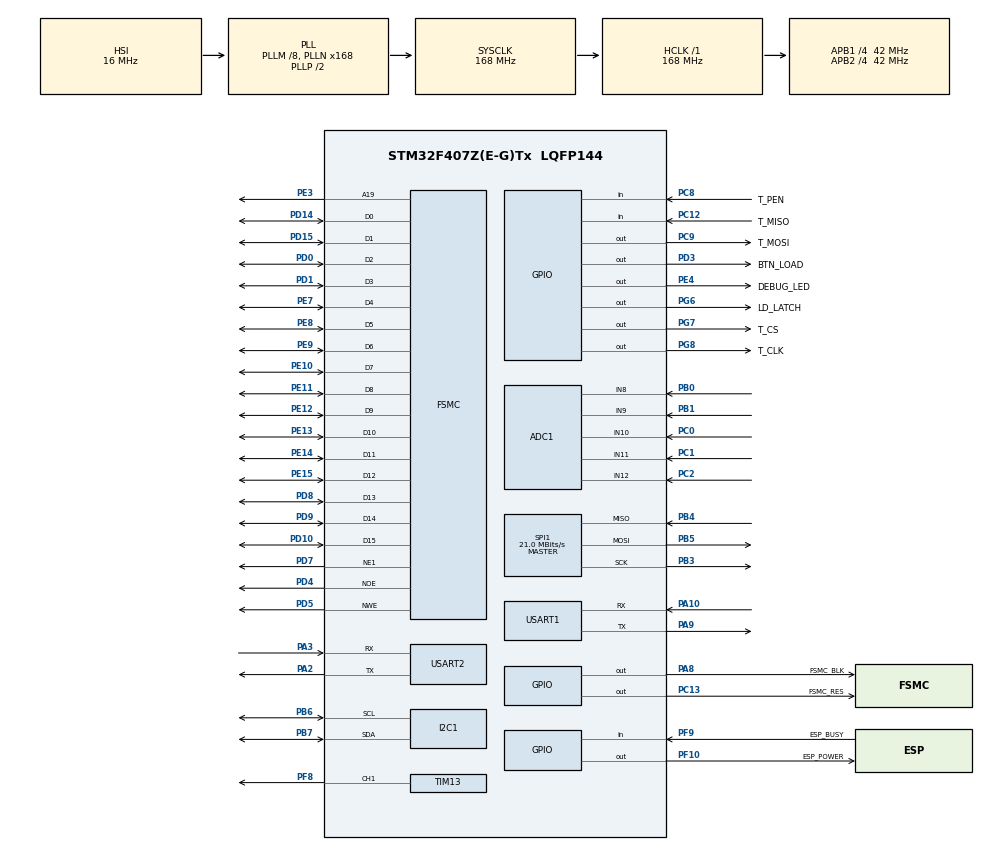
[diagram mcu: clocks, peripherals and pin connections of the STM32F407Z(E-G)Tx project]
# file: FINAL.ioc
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ADC1.Channel-0\#ChannelRegularConversion=ADC_CHANNEL_8
ADC1.Channel-1\#ChannelRegularConversion=ADC_CHANNEL_9
ADC1.Channel-2\#ChannelRegularConversion=ADC_CHANNEL_10
ADC1.Channel-3\#ChannelRegularConversion=ADC_CHANNEL_11
ADC1.Channel-4\#ChannelRegularConversion=ADC_CHANNEL_12
ADC1.NbrOfConversion=5
ADC1.NbrOfConversionFlag=1
ADC1.Rank-0\#ChannelRegularConversion=1
ADC1.Rank-1\#ChannelRegularConversion=2
ADC1.Rank-2\#ChannelRegularConversion=3
ADC1.Rank-3\#ChannelRegularConversion=4
ADC1.Rank-4\#ChannelRegularConversion=5
ADC1.SamplingTime-0\#ChannelRegularConversion=ADC_SAMPLETIME_3CYCLES
ADC1.SamplingTime-1\#ChannelRegularConversion=ADC_SAMPLETIME_3CYCLES
ADC1.SamplingTime-2\#ChannelRegularConversion=ADC_SAMPLETIME_3CYCLES
ADC1.SamplingTime-3\#ChannelRegularConversion=ADC_SAMPLETIME_3CYCLES
ADC1.SamplingTime-4\#ChannelRegularConversion=ADC_SAMPLETIME_3CYCLES
ADC1.ScanConvMode=ENABLE
ADC1.master=1
Dma.ADC1.0.Direction=DMA_PERIPH_TO_MEMORY
Dma.ADC1.0.FIFOMode=DMA_FIFOMODE_DISABLE
Dma.ADC1.0.Instance=DMA2_Stream0
Dma.ADC1.0.MemDataAlignment=DMA_MDATAALIGN_HALFWORD
Dma.ADC1.0.MemInc=DMA_MINC_ENABLE
Dma.ADC1.0.Mode=DMA_CIRCULAR
Dma.ADC1.0.PeriphDataAlignment=DMA_PDATAALIGN_HALFWORD
Dma.ADC1.0.PeriphInc=DMA_PINC_DISABLE
Dma.ADC1.0.Priority=DMA_PRIORITY_LOW
Dma.Request0=ADC1
FSMC.AddressSetupTime1=0xf
FSMC.BusTurnAroundDuration1=0
FSMC.DataSetupTime1=60
FSMC.ExtendedAddressSetupTime1=8
FSMC.ExtendedBusTurnAroundDuration1=0
FSMC.ExtendedDataSetupTime1=9
FSMC.ExtendedMode1=FSMC_EXTENDED_MODE_ENABLE
Mcu.Family=STM32F4
Mcu.Name=STM32F407Z(E-G)Tx
Mcu.Package=LQFP144
NVIC.DMA2_Stream0_IRQn=true\:0\:0\:false\:false\:true\:false\:true
NVIC.PriorityGroup=NVIC_PRIORITYGROUP_4
NVIC.TIM2_IRQn=true\:0\:0\:false\:false\:true\:true\:true
NVIC.USART1_IRQn=true\:0\:0\:false\:false\:true\:true\:true
NVIC.USART2_IRQn=true\:0\:0\:false\:false\:true\:true\:true
PA10.Mode=Asynchronous
PA10.Signal=USART1_RX
PA13.Mode=Serial_Wire
PA13.Signal=SYS_JTMS-SWDIO
PA14.Mode=Serial_Wire
PA14.Signal=SYS_JTCK-SWCLK
PA2.Mode=Asynchronous
PA2.Signal=USART2_TX
PA3.Mode=Asynchronous
PA3.Signal=USART2_RX
PA8.GPIO_Label=FSMC_BLK
PA8.Signal=GPIO_Output
PA9.Mode=Asynchronous
PA9.Signal=USART1_TX
PB0.Signal=ADCx_IN8
PB1.Signal=ADCx_IN9
PB3.Mode=Full_Duplex_Master
PB3.Signal=SPI1_SCK
PB4.Mode=Full_Duplex_Master
PB4.Signal=SPI1_MISO
PB5.Mode=Full_Duplex_Master
PB5.Signal=SPI1_MOSI
PB6.Mode=I2C
PB6.Signal=I2C1_SCL
PB7.Mode=I2C
PB7.Signal=I2C1_SDA
PC0.Signal=ADCx_IN10
PC1.Signal=ADCx_IN11
PC12.GPIO_Label=T_MISO
PC12.Signal=GPIO_Input
PC13-ANTI_TAMP.GPIO_Label=FSMC_RES
PC13-ANTI_TAMP.Signal=GPIO_Output
PC2.Signal=ADCx_IN12
PC8.GPIO_Label=T_PEN
PC8.GPIO_PuPd=GPIO_PULLUP
PC8.Signal=GPIO_Input
PC9.GPIO_Label=T_MOSI
PC9.Signal=GPIO_Output
PD0.Signal=FSMC_D2_DA2
PD1.Signal=FSMC_D3_DA3
PD10.Signal=FSMC_D15_DA15
PD14.Signal=FSMC_D0_DA0
PD15.Signal=FSMC_D1_DA1
PD3.GPIO_Label=BTN_LOAD
PD3.Signal=GPIO_Output
PD4.Signal=FSMC_NOE
PD5.Signal=FSMC_NWE
PD7.Mode=NorPsramChipSelect1_1
PD7.Signal=FSMC_NE1
PD8.Signal=FSMC_D13_DA13
PD9.Signal=FSMC_D14_DA14
PE10.Signal=FSMC_D7_DA7
PE11.Signal=FSMC_D8_DA8
PE12.Signal=FSMC_D9_DA9
PE13.Signal=FSMC_D10_DA10
PE14.Signal=FSMC_D11_DA11
PE15.Signal=FSMC_D12_DA12
PE3.Signal=FSMC_A19
PE4.GPIO_Label=DEBUG_LED
PE4.Signal=GPIO_Output
PE7.Signal=FSMC_D4_DA4
PE8.Signal=FSMC_D5_DA5
PE9.Signal=FSMC_D6_DA6
PF10.GPIO_Label=ESP_POWER
PF10.Signal=GPIO_Output
PF8.Signal=S_TIM13_CH1
PF9.GPIO_Label=ESP_BUSY
PF9.Signal=GPIO_Input
PG6.GPIO_Label=LD_LATCH
PG6.Signal=GPIO_Output
PG7.GPIO_Label=T_CS
PG7.Signal=GPIO_Output
PG8.GPIO_Label=T_CLK
PG8.Signal=GPIO_Output
PH0-OSC_IN.Mode=HSE-External-Oscillator
PH0-OSC_IN.Signal=RCC_OSC_IN
PH1-OSC_OUT.Mode=HSE-External-Oscillator
PH1-OSC_OUT.Signal=RCC_OSC_OUT
ProjectManager.HeapSize=0x200
ProjectManager.StackSize=0x400
ProjectManager.TargetToolchain=STM32CubeIDE
RCC.48MHZClocksFreq_Value=84000000
RCC.AHBFreq_Value=168000000
RCC.APB1CLKDivider=RCC_HCLK_DIV4
RCC.APB1Freq_Value=42000000
RCC.APB1TimFreq_Value=84000000
RCC.APB2CLKDivider=RCC_HCLK_DIV4
RCC.APB2Freq_Value=42000000
RCC.APB2TimFreq_Value=84000000
RCC.CortexFreq_Value=168000000
RCC.HCLKFreq_Value=168000000
RCC.HSE_VALUE=8000000
RCC.HSI_VALUE=16000000
RCC.LSE_VALUE=32768
RCC.PLLM=8
RCC.PLLN=168
RCC.SYSCLKFreq_VALUE=168000000
RCC.SYSCLKSource=RCC_SYSCLKSOURCE_PLLCLK
RCC.VCOOutputFreq_Value=336000000
SH.ADCx_IN10.0=ADC1_IN10,IN10
SH.ADCx_IN11.0=ADC1_IN11,IN11
SH.ADCx_IN12.0=ADC1_IN12,IN12
SH.ADCx_IN8.0=ADC1_IN8,IN8
SH.ADCx_IN9.0=ADC1_IN9,IN9
SH.FSMC_A19.0=FSMC_A19,A19_1
SH.FSMC_D0_DA0.0=FSMC_D0,16b-d1
SH.FSMC_D10_DA10.0=FSMC_D10,16b-d1
SH.FSMC_D11_DA11.0=FSMC_D11,16b-d1
SH.FSMC_D12_DA12.0=FSMC_D12,16b-d1
SH.FSMC_D13_DA13.0=FSMC_D13,16b-d1
SH.FSMC_D14_DA14.0=FSMC_D14,16b-d1
SH.FSMC_D15_DA15.0=FSMC_D15,16b-d1
SH.FSMC_D1_DA1.0=FSMC_D1,16b-d1
SH.FSMC_D2_DA2.0=FSMC_D2,16b-d1
SH.FSMC_D3_DA3.0=FSMC_D3,16b-d1
SH.FSMC_D4_DA4.0=FSMC_D4,16b-d1
SH.FSMC_D5_DA5.0=FSMC_D5,16b-d1
SH.FSMC_D6_DA6.0=FSMC_D6,16b-d1
SH.FSMC_D7_DA7.0=FSMC_D7,16b-d1
SH.FSMC_D8_DA8.0=FSMC_D8,16b-d1
SH.FSMC_D9_DA9.0=FSMC_D9,16b-d1
SH.FSMC_NOE.0=FSMC_NOE,Lcd1
SH.FSMC_NWE.0=FSMC_NWE,Lcd1
SH.S_TIM13_CH1.0=TIM13_CH1,PWM Generation1 CH1
SPI1.CalculateBaudRate=21.0 MBits/s
SPI1.Direction=SPI_DIRECTION_2LINES
SPI1.Mode=SPI_MODE_MASTER
SPI1.VirtualType=VM_MASTER
TIM1.Prescaler=84-1
TIM13.Channel=TIM_CHANNEL_1
TIM13.Period=100-1
TIM13.Prescaler=840-1
TIM2.Period=100-1
TIM2.Prescaler=840-1
USART1.VirtualMode=VM_ASYNC
USART2.VirtualMode=VM_ASYNC
VP_TIM13_VS_ClockSourceINT.Mode=Enable_Timer
VP_TIM1_VS_ClockSourceINT.Mode=Internal
VP_TIM2_VS_ClockSourceINT.Mode=Internal
board=custom

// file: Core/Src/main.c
/* USER CODE BEGIN Header */
/**
  ******************************************************************************
  * @file           : main.c
  * @brief          : Main program body
  ******************************************************************************
  * @attention
  *
  * <h2><center>&copy; Copyright (c) 2023 STMicroelectronics.
  * All rights reserved.</center></h2>
  *
  * This software component is licensed by ST under BSD 3-Clause license,
  * the "License"; You may not use this file except in compliance with the
  * License. You may obtain a copy of the License at:
  *                        opensource.org/licenses/BSD-3-Clause
  *
  ******************************************************************************
  */
/* USER CODE END Header */
#include "main.h"
#include "adc.h"
#include "dma.h"
#include "i2c.h"
#include "spi.h"
#include "tim.h"
#include "usart.h"
#include "gpio.h"
#include "fsmc.h"
/* USER CODE BEGIN Includes */
#include "software_timer.h"
#include "led_7seg.h"
#include "button.h"
#include "lcd.h"
#include "picture.h"
#include "ds3231.h"
#include "sensor.h"
#include "buzzer.h"
#include "touch.h"
#include "uart.h"
//include for project
#include "global.h"
#include "snake.h"
#include "interface.h"
#include "fun_touch.h"
#include "fsm.h"
#include "esp_process.h"

/* USER CODE END Includes */

DMA_HandleTypeDef hdma_adc1;
/* USER CODE BEGIN PV */
#define INIT 0
#define DRAW 1
#define CLEAR 2

int draw_Status = INIT;
/* USER CODE END PV */

void SystemClock_Config(void);
/* USER CODE BEGIN PFP */
void system_init();
void test_led();
/* USER CODE END PFP */

int main(void)
{

  /* MCU Configuration--------------------------------------------------------*/

  /* Reset of all peripherals, Initializes the Flash interface and the Systick. */
  HAL_Init();

  /* Configure the system clock */
  SystemClock_Config();

  /* Initialize all configured peripherals */
  MX_GPIO_Init();
  MX_DMA_Init();
  MX_ADC1_Init();
  MX_FSMC_Init();
  MX_I2C1_Init();
  MX_SPI1_Init();
  MX_TIM2_Init();
  MX_USART1_UART_Init();
  MX_TIM1_Init();
  MX_TIM13_Init();
  MX_USART2_UART_Init();
  /* USER CODE BEGIN 2 */
  system_init();
  //uint32_t counterTouch = 0;
  /* USER CODE END 2 */
  //touch_Adjust();
  /* Infinite loop */
  /* USER CODE BEGIN WHILE */
  while (1)
  {
	  // Scan touch screen
	  // 50ms task
	  if(flag_timer2 == 1){
		  flag_timer2 = 0;
		  touch_Scan();
		  button_Scan();

		  input_process();
		  fsm_ingame();
		  update_7seg_time();
		  process_esp();
	  }
    /* USER CODE END WHILE*/

  }
}

void SystemClock_Config(void)
{
  RCC_OscInitTypeDef RCC_OscInitStruct = {0};
  RCC_ClkInitTypeDef RCC_ClkInitStruct = {0};

  /** Configure the main internal regulator output voltage
  */
  __HAL_RCC_PWR_CLK_ENABLE();
  __HAL_PWR_VOLTAGESCALING_CONFIG(PWR_REGULATOR_VOLTAGE_SCALE1);
  /** Initializes the RCC Oscillators according to the specified parameters
  * in the RCC_OscInitTypeDef structure.
  */
  RCC_OscInitStruct.OscillatorType = RCC_OSCILLATORTYPE_HSI;
  RCC_OscInitStruct.HSIState = RCC_HSI_ON;
  RCC_OscInitStruct.HSICalibrationValue = RCC_HSICALIBRATION_DEFAULT;
  RCC_OscInitStruct.PLL.PLLState = RCC_PLL_ON;
  RCC_OscInitStruct.PLL.PLLSource = RCC_PLLSOURCE_HSI;
  RCC_OscInitStruct.PLL.PLLM = 8;
  RCC_OscInitStruct.PLL.PLLN = 168;
  RCC_OscInitStruct.PLL.PLLP = RCC_PLLP_DIV2;
  RCC_OscInitStruct.PLL.PLLQ = 4;
  if (HAL_RCC_OscConfig(&RCC_OscInitStruct) != HAL_OK)
  {
    Error_Handler();
  }
  /** Initializes the CPU, AHB and APB buses clocks
  */
  RCC_ClkInitStruct.ClockType = RCC_CLOCKTYPE_HCLK|RCC_CLOCKTYPE_SYSCLK
                              |RCC_CLOCKTYPE_PCLK1|RCC_CLOCKTYPE_PCLK2;
  RCC_ClkInitStruct.SYSCLKSource = RCC_SYSCLKSOURCE_PLLCLK;
  RCC_ClkInitStruct.AHBCLKDivider = RCC_SYSCLK_DIV1;
  RCC_ClkInitStruct.APB1CLKDivider = RCC_HCLK_DIV4;
  RCC_ClkInitStruct.APB2CLKDivider = RCC_HCLK_DIV4;

  if (HAL_RCC_ClockConfig(&RCC_ClkInitStruct, FLASH_LATENCY_5) != HAL_OK)
  {
    Error_Handler();
  }
}

/* USER CODE BEGIN 4 */

void system_init(){
	  timer_init();
	  button_init();
	  lcd_init();
	  sensor_init();
	  touch_init();
	  led7_init();
	  //ds3231_init();
	  uart_init_esp();

	  home_lcd();		// Hien thi man hinh vua moi dau
	  snake_init();		// Khoi tao ran
	  reset_7seg();

	  setTimer2(50);
	  setTimer3(50);
	  setTimer4(3000);
	  setTimer5(1000);
}

uint8_t counter_led = 0;
void test_led(){
	if (++counter_led % 20 == 0){
		HAL_GPIO_TogglePin(DEBUG_LED_GPIO_Port, DEBUG_LED_Pin);
		counter_led = 0;
	}
}
/* USER CODE END 4 */

void Error_Handler(void)
{
  __disable_irq();
  while (1)
  {
  }
}

/************************ (C) COPYRIGHT STMicroelectronics *****END OF FILE****/
